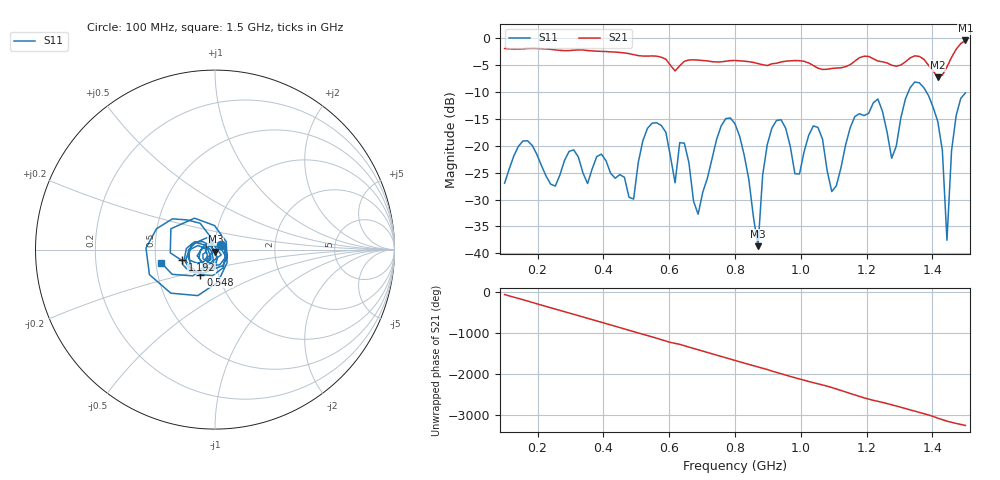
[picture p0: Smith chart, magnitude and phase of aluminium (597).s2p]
! NanoVNA-App
! Date: 2025-09-25 14:59:55
! Start: 100MHz Stop: 1,5GHz Points: 101
! S-Parameter data: F S11 S21 S12 S22
# Hz S RI R 50
!  Frequency  S11_Real  S11_Imag  S21_Real  S21_Imag  S12_Real  S12_Imag  S22_Real  S22_Imag
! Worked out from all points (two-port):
!   101 points, 100 MHz to 1.5 GHz, reference 50 ohm
!   highest |S21| = -0.43 dB at 1.5 GHz (marker M1); lowest = -7.3 dB at 1.416 GHz (marker M2)
!   |S21| within 3 dB of the highest: start of sweep to 567.7 MHz; 1.459 GHz to end of sweep (the widest 2 of 4)
!   lowest |S11| = -38.7 dB at 870 MHz (marker M3), VSWR 1.02, Z = 50.2 - j1.15 ohm
!   |S11| at or under -10 dB: start of sweep to 1.327 GHz; 1.381 GHz to end of sweep
!   S12 and S22 are empty: the file has one direction only
!   S11 on the Smith chart (normalised r, x): 100 MHz: 1.07, +0.06; 548 MHz: 0.82, -0.24; 1.192 GHz: 0.69, -0.08; 1.5 GHz: 0.53, -0.08
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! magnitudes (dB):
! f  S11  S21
! 100 MHz  -27.0  -1.9
! 156 MHz  -19.1  -2.0
! 338 MHz  -25.0  -2.2
! 492 MHz  -29.9  -3.1
! 548 MHz  -15.8  -3.3
! 576 MHz  -16.2  -3.5
! 646 MHz  -19.5  -4.3
! 688 MHz  -32.7  -4.1
! 800 MHz  -15.9  -4.1
! 870 MHz  -38.7  -4.7
! 912 MHz  -16.7  -4.8
! 996 MHz  -25.2  -4.2
! 1.038 GHz  -16.3  -5.1
! 1.094 GHz  -28.5  -5.6
! 1.192 GHz  -14.4  -3.4
! 1.234 GHz  -11.3  -4.3
! 1.276 GHz  -22.3  -5.0
! 1.346 GHz  -8.2  -3.3
! 1.416 GHz  -15.5  -7.3
! 1.444 GHz  -37.6  -5.3
! 1.458 GHz  -20.9  -3.6
! 1.5 GHz  -10.2  -0.4
